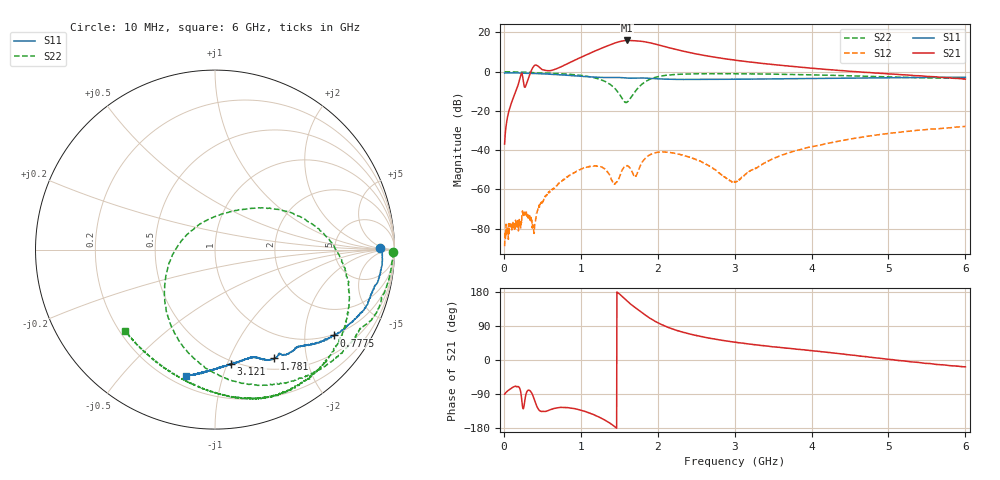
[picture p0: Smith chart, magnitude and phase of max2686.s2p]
! MAXIM INTEGRATED PRODUCTS
! MAX2686 Typical Scattering Parameters at Vcc=+2.85V,10MHz to 6GHz, TA = +25C
!Freq(MHz) DB (S11)  DB (S21)  DB (S12)  DB (S22)
!	 Mag	 Phase	 Mag	Phase	 Mag	 Phase  Mag  Phase
# Hz S dB R 50
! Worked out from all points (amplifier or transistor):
!   1601 points, 10 MHz to 6 GHz, reference 50 ohm
!   highest |S21| = 15.9 dB at 1.601 GHz (marker M1)
!   |S21| within 3 dB of that: 1.332 GHz to 2.08 GHz (748.3 MHz wide, 43.9 % of centre)
!   unconditionally stable (mu >= 1): start of sweep to end of sweep
!   at 1.006 GHz: K = 9.75, MAG = 15.6 dB, |S12| = -49.6 dB
!   at 3.005 GHz: K = 20.20, MAG = 15.0 dB, |S12| = -56.3 dB
!   at 6 GHz: K = 4.57, MAG = 2.5 dB, |S12| = -27.9 dB
!   S11 on the Smith chart (normalised r, x): 10 MHz: 23, +2; 777.5 MHz: 0.97, -2.80; 1.781 GHz: 0.64, -1.48; 3.121 GHz: 0.47, -1.03; 6 GHz: 0.26, -0.76
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1e7  -0.75 0.4  -36.89 -90.3  -88.89 -143.2  -0.05 -0.8
2.159062e8  -0.67 -11.2  -2.35 -81.2  -78.20 100.4  -0.26 -14.9
2.832938e8  -0.83 -13.9  -7.45 -94.3  -72.95 73.2  -0.27 -19.1
3.469375e8  -0.87 -17.0  -0.44 -82.5  -75.88 39.5  -0.39 -23.8
3.9935e8  -0.88 -19.6  3.18 -106.1  -78.68 -93.0  -0.61 -27.1
4.5925e8  -0.99 -22.8  2.36 -132.8  -67.99 -161.5  -0.73 -29.9
7.774688e8  -1.74 -35.7  3.15 -125.4  -55.13 158.7  -1.13 -51.8
1.009581e9  -2.35 -43.3  7.43 -132.9  -49.47 134.1  -1.94 -71.0
1.208e9  -2.80 -48.0  10.88 -148.1  -48.04 103.9  -3.45 -92.7
1.350262e9  -2.96 -50.8  13.18 -162.9  -51.31 80.3  -5.69 -115.4
1.500012e9  -3.01 -55.0  15.25 174.7  -54.08 146.6  -11.28 -161.7
1.601094e9  -3.26 -58.0  15.89 155.8  -47.91 124.1  -15.56 111.6
1.780794e9  -3.23 -61.6  15.49 127.2  -47.37 160.2  -6.89 28.1
1.878131e9  -3.33 -64.9  14.89 113.1  -42.91 142.8  -4.27 8.5
2.009162e9  -3.65 -67.6  13.62 97.7  -41.05 117.2  -2.54 -11.5
2.151425e9  -3.86 -69.1  12.15 85.1  -41.13 96.3  -1.67 -26.2
2.353588e9  -3.96 -71.8  10.29 72.1  -42.86 76.9  -1.23 -40.3
3.005e9  -3.84 -80.4  5.88 46.9  -56.29 123.8  -1.03 -63.3
3.121056e9  -3.81 -82.0  5.29 43.8  -52.96 155.4  -1.13 -66.1
4.004581e9  -3.49 -90.9  1.71 24.8  -38.25 166.9  -1.65 -82.5
5.004162e9  -3.11 -98.1  -1.13 1.9  -31.45 147.6  -2.69 -107.4
6e9  -2.84 -103.0  -3.79 -18.1  -27.90 128.0  -3.43 -137.7
